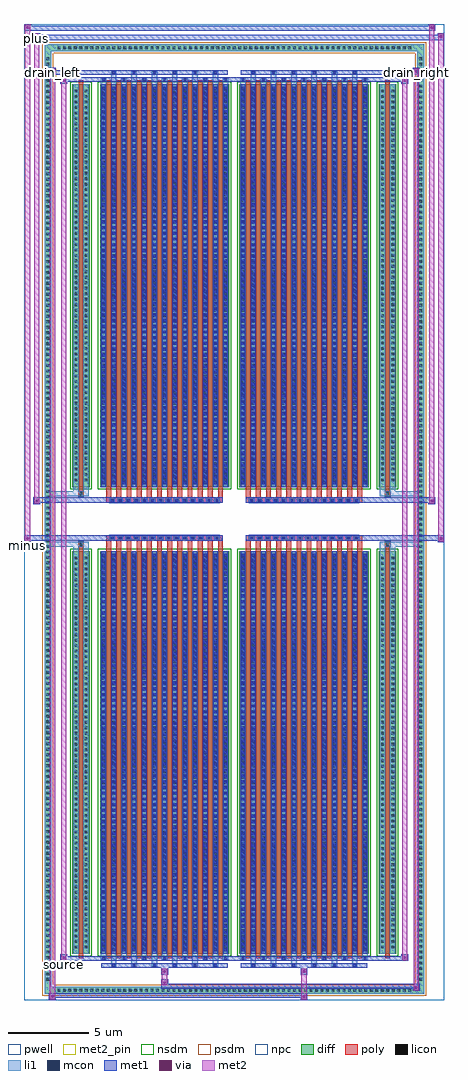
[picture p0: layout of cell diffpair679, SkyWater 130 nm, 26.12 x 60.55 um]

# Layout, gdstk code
import gdstk
lib = gdstk.Library(unit=1e-6, precision=5e-09)
def R(c, l, rs):  # rectangles x0, y0, x1, y1
    for r in rs: c.add(gdstk.rectangle(r[:2], r[2:], *l))
def A(c, l, x, y, w, h, nx, ny, dx, dy):  # array of equal rectangles
    R(c, l, [(x+i*dx, y+j*dy, x+i*dx+w, y+j*dy+h) for i in range(nx) for j in range(ny)])
def P(c, l, *ps):  # polygons
    for p in ps: c.add(gdstk.Polygon(p, *l))
pwell = (64, 44)
diff = (65, 20)
poly = (66, 20)
licon = (66, 44)
li1 = (67, 20)
mcon = (67, 44)
met1 = (68, 20)
via = (68, 44)
met2_pin = (69, 16)
met2 = (69, 20)
nsdm = (93, 44)
psdm = (94, 20)
npc = (95, 20)

diffpair679 = lib.new_cell('diffpair679')
R(diffpair679, pwell, [(-13.04,-29.84,13.04,30.71), (-10.36,-28.03,-0.01,-0.805), (0.01,-28.03,10.36,-0.805), (-10.36,0.805,-0.01,28.03), (0.01,0.805,10.36,28.03)])
A(diffpair679, diff, -11.085, -29.44, 0.41, 0.41, 65, 2, 0.34, 58.47)
A(diffpair679, diff, -11.77, -28.765, 0.41, 0.41, 1, 169, 0, 0.34)
A(diffpair679, diff, 11.36, -28.765, 0.41, 0.41, 1, 169, 0, 0.34)
R(diffpair679, diff, [(-11.085,-29.44,11.085,-29.03), (-11.77,-28.765,-11.36,28.765), (11.36,-28.765,11.77,28.765), (-10.05,-26.985,-8.97,-1.985), (-8.33,-26.985,-0.32,-1.985), (0.32,-26.985,8.33,-1.985), (8.97,-26.985,10.05,-1.985), (-10.05,1.985,-8.97,26.985), (-8.33,1.985,-0.32,26.985), (0.32,1.985,8.33,26.985), (8.97,1.985,10.05,26.985), (-11.085,29.03,11.085,29.44)])
P(diffpair679, diff, [(11.77,29.44),(-11.77,29.44),(-11.77,-29.03),(-11.36,-29.03),(-11.36,29.03),(11.36,29.03),(11.36,-29.03),(-11.36,-29.03),(-11.77,-29.03),(-11.77,-29.44),(11.77,-29.44)])
A(diffpair679, poly, -7.94, -27.235, 0.3, 25.5, 12, 2, 0.63, 28.97)
A(diffpair679, poly, 0.71, -27.235, 0.3, 25.5, 12, 2, 0.63, 28.97)
A(diffpair679, poly, -7.94, -1.735, 0.3, 0.4, 12, 2, 0.63, 3.07)
A(diffpair679, poly, 0.71, -1.735, 0.3, 0.4, 12, 2, 0.63, 3.07)
A(diffpair679, poly, -7.74, -1.335, 0.33, 0.33, 14, 2, 0.5, 2.34)
A(diffpair679, poly, 0.91, -1.335, 0.33, 0.33, 14, 2, 0.5, 2.34)
R(diffpair679, poly, [(-9.66,-27.235,-9.36,-1.735), (9.36,-27.235,9.66,-1.735), (-9.675,-1.735,-9.345,-1.405), (-9.675,-1.735,-9.345,-1.405), (9.345,-1.735,9.675,-1.405), (9.345,-1.735,9.675,-1.405), (-7.94,-1.335,-0.71,-1.005), (0.71,-1.335,7.94,-1.005), (-7.94,1.005,-0.71,1.335), (0.71,1.005,7.94,1.335), (-9.675,1.405,-9.345,1.735), (-9.675,1.405,-9.345,1.735), (9.345,1.405,9.675,1.735), (9.345,1.405,9.675,1.735), (-9.66,1.735,-9.36,27.235), (9.36,1.735,9.66,27.235)])
A(diffpair679, licon, -10.965, -29.32, 0.17, 0.17, 65, 2, 0.34, 58.47)
A(diffpair679, licon, -11.65, -28.645, 0.17, 0.17, 1, 169, 0, 0.34)
A(diffpair679, licon, 11.48, -28.645, 0.17, 0.17, 1, 169, 0, 0.34)
A(diffpair679, licon, -9.91, -26.64, 0.17, 0.17, 1, 72, 0, 0.34)
A(diffpair679, licon, -9.28, -26.64, 0.17, 0.17, 1, 72, 0, 0.34)
A(diffpair679, licon, -8.19, -26.64, 0.17, 0.17, 13, 72, 0.63, 0.34)
A(diffpair679, licon, 0.46, -26.64, 0.17, 0.17, 13, 72, 0.63, 0.34)
A(diffpair679, licon, 9.11, -26.64, 0.17, 0.17, 1, 72, 0, 0.34)
A(diffpair679, licon, 9.74, -26.64, 0.17, 0.17, 1, 72, 0, 0.34)
A(diffpair679, licon, -7.66, -1.255, 0.17, 0.17, 14, 2, 0.5, 2.34)
A(diffpair679, licon, 0.99, -1.255, 0.17, 0.17, 14, 2, 0.5, 2.34)
A(diffpair679, licon, -9.91, 2.33, 0.17, 0.17, 1, 72, 0, 0.34)
A(diffpair679, licon, -9.28, 2.33, 0.17, 0.17, 1, 72, 0, 0.34)
A(diffpair679, licon, -8.19, 2.33, 0.17, 0.17, 13, 72, 0.63, 0.34)
A(diffpair679, licon, 0.46, 2.33, 0.17, 0.17, 13, 72, 0.63, 0.34)
A(diffpair679, licon, 9.11, 2.33, 0.17, 0.17, 1, 72, 0, 0.34)
A(diffpair679, licon, 9.74, 2.33, 0.17, 0.17, 1, 72, 0, 0.34)
R(diffpair679, licon, [(-9.595,-1.655,-9.425,-1.485), (9.425,-1.655,9.595,-1.485), (-9.595,1.485,-9.425,1.655), (9.425,1.485,9.595,1.655)])
A(diffpair679, li1, -11.045, -29.4, 0.33, 0.33, 65, 2, 0.34, 58.47)
A(diffpair679, li1, -11.73, -28.725, 0.33, 0.33, 1, 169, 0, 0.34)
A(diffpair679, li1, 11.4, -28.725, 0.33, 0.33, 1, 169, 0, 0.34)
A(diffpair679, li1, -7.64, -27.79, 0.33, 0.805, 6, 2, 1.26, 54.775)
A(diffpair679, li1, -7.56, -27.79, 0.17, 0.17, 6, 2, 1.26, 55.41)
A(diffpair679, li1, 1.01, -27.79, 0.33, 0.805, 6, 2, 1.26, 54.775)
A(diffpair679, li1, 1.09, -27.79, 0.17, 0.17, 6, 2, 1.26, 55.41)
A(diffpair679, li1, -8.27, -27.36, 0.33, 0.375, 7, 2, 1.26, 54.345)
A(diffpair679, li1, -8.19, -27.36, 0.17, 0.17, 7, 2, 1.26, 54.55)
A(diffpair679, li1, 0.38, -27.36, 0.33, 0.375, 7, 2, 1.26, 54.345)
A(diffpair679, li1, 0.46, -27.36, 0.17, 0.17, 7, 2, 1.26, 54.55)
A(diffpair679, li1, -8.27, -26.985, 0.33, 25, 13, 2, 0.63, 28.97)
A(diffpair679, li1, 0.38, -26.985, 0.33, 25, 13, 2, 0.63, 28.97)
A(diffpair679, li1, -8.19, -26.81, 0.17, 0.17, 13, 69, 0.63, 0.36)
A(diffpair679, li1, -8.19, -26.81, 0.17, 24.65, 13, 2, 0.63, 28.97)
A(diffpair679, li1, 0.46, -26.81, 0.17, 0.17, 13, 69, 0.63, 0.36)
A(diffpair679, li1, 0.46, -26.81, 0.17, 24.65, 13, 2, 0.63, 28.97)
A(diffpair679, li1, -9.99, -26.72, 0.33, 0.33, 1, 72, 0, 0.34)
A(diffpair679, li1, -9.36, -26.72, 0.33, 0.33, 1, 72, 0, 0.34)
A(diffpair679, li1, -8.27, -26.72, 0.33, 0.33, 13, 72, 0.63, 0.34)
A(diffpair679, li1, 0.38, -26.72, 0.33, 0.33, 13, 72, 0.63, 0.34)
A(diffpair679, li1, 9.03, -26.72, 0.33, 0.33, 1, 72, 0, 0.34)
A(diffpair679, li1, 9.66, -26.72, 0.33, 0.33, 1, 72, 0, 0.34)
A(diffpair679, li1, -7.74, -1.335, 0.33, 0.33, 14, 2, 0.5, 2.34)
A(diffpair679, li1, 0.91, -1.335, 0.33, 0.33, 14, 2, 0.5, 2.34)
A(diffpair679, li1, -8.19, 2.16, 0.17, 0.17, 13, 69, 0.63, 0.36)
A(diffpair679, li1, 0.46, 2.16, 0.17, 0.17, 13, 69, 0.63, 0.36)
A(diffpair679, li1, -9.99, 2.25, 0.33, 0.33, 1, 72, 0, 0.34)
A(diffpair679, li1, -9.36, 2.25, 0.33, 0.33, 1, 72, 0, 0.34)
A(diffpair679, li1, -8.27, 2.25, 0.33, 0.33, 13, 72, 0.63, 0.34)
A(diffpair679, li1, 0.38, 2.25, 0.33, 0.33, 13, 72, 0.63, 0.34)
A(diffpair679, li1, 9.03, 2.25, 0.33, 0.33, 1, 72, 0, 0.34)
A(diffpair679, li1, 9.66, 2.25, 0.33, 0.33, 1, 72, 0, 0.34)
R(diffpair679, li1, [(-11.77,-29.44,-11.36,-29.03), (-11.77,-29.44,-11.36,-29.03), (-11.36,-29.44,11.36,-29.03), (11.36,-29.44,11.77,-29.03), (11.36,-29.44,11.77,-29.03), (-11.77,-29.03,-11.36,29.03), (11.36,-29.03,11.77,29.03), (-9.99,-26.985,-9.66,-1.985), (-9.36,-26.985,-9.03,-1.985), (9.03,-26.985,9.36,-1.985), (9.66,-26.985,9.99,-1.985), (-9.99,-1.985,-9.66,-1.405), (-9.36,-1.985,-9.03,-1.405), (9.03,-1.985,9.36,-1.405), (9.66,-1.985,9.99,-1.405), (-11.77,-1.735,-9.675,-1.405), (-9.99,-1.735,-9.675,-1.405), (-9.675,-1.735,-9.345,-1.405), (-9.345,-1.735,-9.03,-1.405), (9.03,-1.735,9.345,-1.405), (9.345,-1.735,9.675,-1.405), (9.345,-1.735,11.77,-1.405), (9.675,-1.735,9.99,-1.405), (-11.77,1.405,-9.675,1.735), (-9.99,1.405,-9.675,1.735), (-9.99,1.405,-9.66,1.985), (-9.675,1.405,-9.345,1.735), (-9.36,1.405,-9.03,1.985), (-9.345,1.405,-9.03,1.735), (9.03,1.405,9.345,1.735), (9.03,1.405,9.36,1.985), (9.345,1.405,9.675,1.735), (9.345,1.405,11.77,1.735), (9.66,1.405,9.99,1.985), (9.675,1.405,9.99,1.735), (-9.99,1.985,-9.66,26.985), (-9.36,1.985,-9.03,26.985), (9.03,1.985,9.36,26.985), (9.66,1.985,9.99,26.985), (-11.77,29.03,-11.36,29.44), (-11.77,29.03,-11.36,29.44), (-11.36,29.03,11.36,29.44), (11.36,29.03,11.77,29.44), (11.36,29.03,11.77,29.44)])
A(diffpair679, mcon, -7.56, -27.79, 0.17, 0.17, 6, 2, 1.26, 55.41)
A(diffpair679, mcon, 1.09, -27.79, 0.17, 0.17, 6, 2, 1.26, 55.41)
A(diffpair679, mcon, -8.19, -27.36, 0.17, 0.17, 7, 2, 1.26, 54.55)
A(diffpair679, mcon, 0.46, -27.36, 0.17, 0.17, 7, 2, 1.26, 54.55)
A(diffpair679, mcon, -8.19, -26.81, 0.17, 0.17, 13, 69, 0.63, 0.36)
A(diffpair679, mcon, 0.46, -26.81, 0.17, 0.17, 13, 69, 0.63, 0.36)
A(diffpair679, mcon, -7.66, -1.255, 0.17, 0.17, 14, 2, 0.5, 2.34)
A(diffpair679, mcon, 0.99, -1.255, 0.17, 0.17, 14, 2, 0.5, 2.34)
A(diffpair679, mcon, -8.19, 2.16, 0.17, 0.17, 13, 69, 0.63, 0.36)
A(diffpair679, mcon, 0.46, 2.16, 0.17, 0.17, 13, 69, 0.63, 0.36)
A(diffpair679, met1, -7.62, -27.85, 0.29, 0.29, 6, 2, 1.26, 55.41)
A(diffpair679, met1, 1.03, -27.85, 0.29, 0.29, 6, 2, 1.26, 55.41)
A(diffpair679, met1, -8.25, -27.42, 0.29, 0.29, 7, 2, 1.26, 54.55)
A(diffpair679, met1, 0.4, -27.42, 0.29, 0.29, 7, 2, 1.26, 54.55)
A(diffpair679, met1, -8.25, -26.985, 0.29, 25, 13, 2, 0.63, 28.97)
A(diffpair679, met1, 0.4, -26.985, 0.29, 25, 13, 2, 0.63, 28.97)
A(diffpair679, met1, -8.25, -26.87, 0.29, 0.29, 13, 69, 0.63, 0.36)
A(diffpair679, met1, 0.4, -26.87, 0.29, 0.29, 13, 69, 0.63, 0.36)
A(diffpair679, met1, -7.72, -1.315, 0.29, 0.29, 14, 2, 0.5, 2.34)
A(diffpair679, met1, 0.93, -1.315, 0.29, 0.29, 14, 2, 0.5, 2.34)
A(diffpair679, met1, -8.25, 2.1, 0.29, 0.29, 13, 69, 0.63, 0.36)
A(diffpair679, met1, 0.4, 2.1, 0.29, 0.29, 13, 69, 0.63, 0.36)
R(diffpair679, met1, [(-11.5,-29.84,-11.07,-29.41), (4.11,-29.84,4.54,-29.41), (-11.5,-29.7,4.54,-29.41), (11.07,-29.27,11.5,-28.84), (-4.54,-29.13,11.5,-28.84), (-4.54,-28.99,-4.11,-28.56), (-4.54,-28.28,-4.11,-27.85), (4.11,-28.28,4.54,-27.85), (-8.25,-27.85,-0.4,-27.56), (0.4,-27.85,8.25,-27.56), (-10.79,-27.42,-10.36,-26.99), (-10.79,-27.42,-8.25,-27.13), (-8.25,-27.42,-0.4,-27.13), (-0.4,-27.42,0.4,-27.13), (0.4,-27.42,8.25,-27.13), (8.25,-27.42,10.79,-27.13), (10.36,-27.42,10.79,-26.99), (-13.04,-1.435,-12.61,-1.005), (12.61,-1.435,13.04,-1.005), (-13.04,-1.335,-0.71,-1.005), (-7.94,-1.335,-0.71,-1.005), (0.71,-1.335,7.94,-1.005), (0.71,-1.335,13.04,-1.005), (-12.47,0.905,-12.04,1.335), (12.04,0.905,12.47,1.335), (-12.47,1.005,-7.94,1.335), (-7.94,1.005,-0.71,1.335), (0.71,1.005,7.94,1.335), (7.94,1.005,12.47,1.335), (-10.79,26.99,-10.36,27.42), (10.36,26.99,10.79,27.42), (-10.79,27.13,-8.25,27.42), (-8.25,27.13,-0.4,27.42), (-0.4,27.13,0.4,27.42), (0.4,27.13,8.25,27.42), (8.25,27.13,10.79,27.42), (-11.5,27.56,-11.07,27.99), (-11.5,27.56,-8.25,27.85), (-8.25,27.56,-0.4,27.85), (0.4,27.56,8.25,27.85), (8.25,27.56,11.5,27.85), (11.07,27.56,11.5,27.99), (-12.47,29.71,-12.04,30.14), (-12.47,29.71,-10.36,30.04), (-10.36,29.71,10.36,30.04), (10.36,29.71,13.04,30.04), (12.61,29.71,13.04,30.14), (-13.04,30.28,-12.61,30.71), (-13.04,30.28,-10.36,30.61), (-10.36,30.28,10.36,30.61), (10.36,30.28,12.47,30.61), (12.04,30.28,12.47,30.71)])
R(diffpair679, via, [(-11.36,-29.7,-11.21,-29.55), (4.25,-29.7,4.4,-29.55), (11.21,-29.13,11.36,-28.98), (-4.4,-28.85,-4.25,-28.7), (-4.4,-28.14,-4.25,-27.99), (4.25,-28.14,4.4,-27.99), (-10.65,-27.28,-10.5,-27.13), (10.5,-27.28,10.65,-27.13), (-12.9,-1.295,-12.75,-1.145), (12.75,-1.295,12.9,-1.145), (-12.33,1.045,-12.18,1.195), (12.18,1.045,12.33,1.195), (-10.65,27.13,-10.5,27.28), (10.5,27.13,10.65,27.28), (-11.36,27.7,-11.21,27.85), (11.21,27.7,11.36,27.85), (-12.33,29.85,-12.18,30), (12.75,29.85,12.9,30), (-12.9,30.42,-12.75,30.57), (12.18,30.42,12.33,30.57)])
R(diffpair679, met2_pin, [(-10.825,-27.87,-10.325,-27.37), (-13.075,-1.885,-12.575,-1.385), (-11.535,27.44,-11.035,27.94), (11.035,27.44,11.535,27.94), (-12.505,29.59,-12.005,30.09)])
R(diffpair679, met2, [(-11.45,-29.79,-11.12,-29.46), (-11.45,-29.79,-11.12,27.94), (4.16,-29.79,4.49,-29.46), (4.16,-29.46,4.49,-28.23), (11.12,-29.22,11.45,-28.89), (11.12,-29.22,11.45,27.94), (-4.49,-28.94,-4.16,-28.61), (-4.49,-28.61,-4.16,-28.23), (-4.49,-28.23,-4.16,-27.9), (4.16,-28.23,4.49,-27.9), (-10.74,-27.37,-10.41,-27.04), (-10.74,-27.37,-10.41,27.37), (10.41,-27.37,10.74,-27.04), (10.41,-27.37,10.74,27.37), (-12.99,-1.385,-12.66,-1.055), (-12.99,-1.385,-12.66,30.66), (12.66,-1.385,12.99,-1.055), (12.66,-1.385,12.99,30.09), (-12.42,0.955,-12.09,1.285), (-12.42,0.955,-12.09,30.09), (12.09,0.955,12.42,1.285), (12.09,0.955,12.42,30.66), (-10.74,27.04,-10.41,27.37), (10.41,27.04,10.74,27.37), (-11.45,27.61,-11.12,27.94), (11.12,27.61,11.45,27.94), (-12.42,29.76,-12.09,30.09), (12.66,29.76,12.99,30.09), (-12.99,30.33,-12.66,30.66), (12.09,30.33,12.42,30.66)])
P(diffpair679, met2, [(12.99,-1.385),(12.99,-1.385),(12.99,-1.055),(12.99,-1.055)],
  [(12.99,29.76),(12.99,29.76),(12.99,30.09),(12.99,30.09)],
  [(-12.66,-1.385),(-12.66,-1.385),(-12.66,-1.055),(-12.66,-1.055)],
  [(-12.66,30.33),(-12.66,30.33),(-12.66,30.66),(-12.66,30.66)],
  [(12.42,0.955),(12.42,0.955),(12.42,1.285),(12.42,1.285)],
  [(12.42,30.33),(12.42,30.33),(12.42,30.66),(12.42,30.66)],
  [(-12.09,0.955),(-12.09,0.955),(-12.09,1.285),(-12.09,1.285)],
  [(-12.09,29.76),(-12.09,29.76),(-12.09,30.09),(-12.09,30.09)],
  [(-11.12,-29.79),(-11.12,-29.79),(-11.12,-29.46),(-11.12,-29.46)],
  [(-11.12,27.61),(-11.12,27.61),(-11.12,27.94),(-11.12,27.94)],
  [(11.45,-29.22),(11.45,-29.22),(11.45,-28.89),(11.45,-28.89)],
  [(11.45,27.61),(11.45,27.61),(11.45,27.94),(11.45,27.94)],
  [(-10.41,-27.37),(-10.41,-27.37),(-10.41,-27.04),(-10.41,-27.04)],
  [(-10.41,27.04),(-10.41,27.04),(-10.41,27.37),(-10.41,27.37)],
  [(10.74,-27.37),(10.74,-27.37),(10.74,-27.04),(10.74,-27.04)],
  [(10.74,27.04),(10.74,27.04),(10.74,27.37),(10.74,27.37)])
R(diffpair679, nsdm, [(-10.18,-27.115,-8.84,-1.855), (-8.46,-27.115,-0.19,-1.855), (0.19,-27.115,8.46,-1.855), (8.84,-27.115,10.18,-1.855), (-10.18,1.855,-8.84,27.115), (-8.46,1.855,-0.19,27.115), (0.19,1.855,8.46,27.115), (8.84,1.855,10.18,27.115)])
P(diffpair679, psdm, [(11.9,29.57),(-11.9,29.57),(-11.9,-28.9),(-11.23,-28.9),(-11.23,28.9),(11.23,28.9),(11.23,-28.9),(-11.23,-28.9),(-11.9,-28.9),(-11.9,-29.57),(11.9,-29.57)])
A(diffpair679, npc, -7.76, -1.355, 0.37, 0.37, 14, 2, 0.5, 2.34)
A(diffpair679, npc, 0.89, -1.355, 0.37, 0.37, 14, 2, 0.5, 2.34)
R(diffpair679, npc, [(-9.695,-1.755,-9.325,-1.385), (9.325,-1.755,9.695,-1.385), (-7.76,-1.355,-6.89,-0.985), (-7.76,-1.355,-6.89,-0.985), (-7.26,-1.355,-6.39,-0.985), (-7.26,-1.355,-6.39,-0.985), (-6.76,-1.355,-5.89,-0.985), (-6.76,-1.355,-5.89,-0.985), (-6.26,-1.355,-5.39,-0.985), (-6.26,-1.355,-5.39,-0.985), (-5.76,-1.355,-4.89,-0.985), (-5.76,-1.355,-4.89,-0.985), (-5.26,-1.355,-4.39,-0.985), (-5.26,-1.355,-4.39,-0.985), (-4.76,-1.355,-3.89,-0.985), (-4.76,-1.355,-3.89,-0.985), (-4.26,-1.355,-3.39,-0.985), (-4.26,-1.355,-3.39,-0.985), (-3.76,-1.355,-2.89,-0.985), (-3.76,-1.355,-2.89,-0.985), (-3.26,-1.355,-2.39,-0.985), (-3.26,-1.355,-2.39,-0.985), (-2.76,-1.355,-1.89,-0.985), (-2.76,-1.355,-1.89,-0.985), (-2.26,-1.355,-1.39,-0.985), (-2.26,-1.355,-1.39,-0.985), (-1.76,-1.355,-0.89,-0.985), (-1.76,-1.355,-0.89,-0.985), (0.89,-1.355,1.76,-0.985), (0.89,-1.355,1.76,-0.985), (1.39,-1.355,2.26,-0.985), (1.39,-1.355,2.26,-0.985), (1.89,-1.355,2.76,-0.985), (1.89,-1.355,2.76,-0.985), (2.39,-1.355,3.26,-0.985), (2.39,-1.355,3.26,-0.985), (2.89,-1.355,3.76,-0.985), (2.89,-1.355,3.76,-0.985), (3.39,-1.355,4.26,-0.985), (3.39,-1.355,4.26,-0.985), (3.89,-1.355,4.76,-0.985), (3.89,-1.355,4.76,-0.985), (4.39,-1.355,5.26,-0.985), (4.39,-1.355,5.26,-0.985), (4.89,-1.355,5.76,-0.985), (4.89,-1.355,5.76,-0.985), (5.39,-1.355,6.26,-0.985), (5.39,-1.355,6.26,-0.985), (5.89,-1.355,6.76,-0.985), (5.89,-1.355,6.76,-0.985), (6.39,-1.355,7.26,-0.985), (6.39,-1.355,7.26,-0.985), (6.89,-1.355,7.76,-0.985), (6.89,-1.355,7.76,-0.985), (-7.76,0.985,-6.89,1.355), (-7.76,0.985,-6.89,1.355), (-7.26,0.985,-6.39,1.355), (-7.26,0.985,-6.39,1.355), (-6.76,0.985,-5.89,1.355), (-6.76,0.985,-5.89,1.355), (-6.26,0.985,-5.39,1.355), (-6.26,0.985,-5.39,1.355), (-5.76,0.985,-4.89,1.355), (-5.76,0.985,-4.89,1.355), (-5.26,0.985,-4.39,1.355), (-5.26,0.985,-4.39,1.355), (-4.76,0.985,-3.89,1.355), (-4.76,0.985,-3.89,1.355), (-4.26,0.985,-3.39,1.355), (-4.26,0.985,-3.39,1.355), (-3.76,0.985,-2.89,1.355), (-3.76,0.985,-2.89,1.355), (-3.26,0.985,-2.39,1.355), (-3.26,0.985,-2.39,1.355), (-2.76,0.985,-1.89,1.355), (-2.76,0.985,-1.89,1.355), (-2.26,0.985,-1.39,1.355), (-2.26,0.985,-1.39,1.355), (-1.76,0.985,-0.89,1.355), (-1.76,0.985,-0.89,1.355), (0.89,0.985,1.76,1.355), (0.89,0.985,1.76,1.355), (1.39,0.985,2.26,1.355), (1.39,0.985,2.26,1.355), (1.89,0.985,2.76,1.355), (1.89,0.985,2.76,1.355), (2.39,0.985,3.26,1.355), (2.39,0.985,3.26,1.355), (2.89,0.985,3.76,1.355), (2.89,0.985,3.76,1.355), (3.39,0.985,4.26,1.355), (3.39,0.985,4.26,1.355), (3.89,0.985,4.76,1.355), (3.89,0.985,4.76,1.355), (4.39,0.985,5.26,1.355), (4.39,0.985,5.26,1.355), (4.89,0.985,5.76,1.355), (4.89,0.985,5.76,1.355), (5.39,0.985,6.26,1.355), (5.39,0.985,6.26,1.355), (5.89,0.985,6.76,1.355), (5.89,0.985,6.76,1.355), (6.39,0.985,7.26,1.355), (6.39,0.985,7.26,1.355), (6.89,0.985,7.76,1.355), (6.89,0.985,7.76,1.355), (-9.695,1.385,-9.325,1.755), (9.325,1.385,9.695,1.755)])
diffpair679.add(gdstk.Label('minus', (-12.825,-1.635), layer=69, texttype=5))
diffpair679.add(gdstk.Label('drain_right', (11.285,27.69), layer=69, texttype=5))
diffpair679.add(gdstk.Label('drain_left', (-11.285,27.69), layer=69, texttype=5))
diffpair679.add(gdstk.Label('source', (-10.575,-27.62), layer=69, texttype=5))
diffpair679.add(gdstk.Label('plus', (-12.255,29.84), layer=69, texttype=5))

lib.write_gds('diffpair679.gds')
